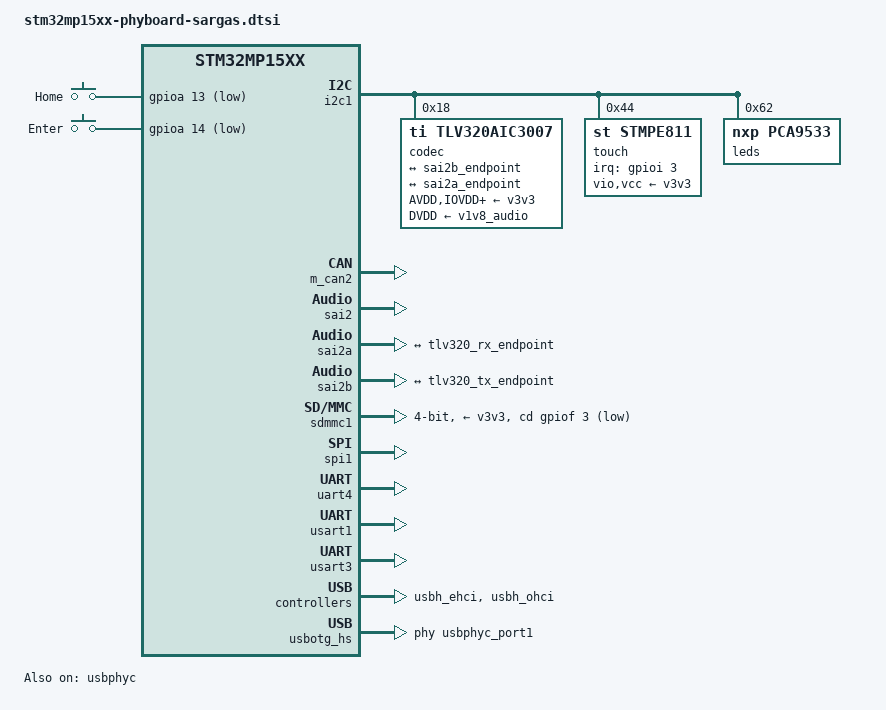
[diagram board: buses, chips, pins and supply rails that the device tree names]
// SPDX-License-Identifier: (GPL-2.0+ OR BSD-3-Clause)
/*
 * Copyright (C) 2022-2023 Steffen Trumtrar <kernel@pengutronix.de>
 * Copyright (C) Phytec GmbH 2019-2020 - All Rights Reserved
 * Author: Dom VOVARD <dom.vovard@linrt.com>.
 */

#include <dt-bindings/interrupt-controller/arm-gic.h>
#include <dt-bindings/interrupt-controller/irq.h>
#include <dt-bindings/leds/common.h>
#include <dt-bindings/leds/leds-pca9532.h>

/ {
	aliases {
		mmc0 = &sdmmc1;
		mmc1 = &sdmmc2;
		mmc2 = &sdmmc3;
		serial0 = &uart4;
		serial1 = &usart3;
		serial2 = &usart1;
	};

	chosen {
		stdout-path = "serial0:115200n8";
	};

	gpio-keys {
		compatible = "gpio-keys";

		key-home {
			label = "Home";
			gpios = <&gpioa 13 GPIO_ACTIVE_LOW>;
			linux,code = <KEY_HOME>;
		};

		key-enter {
			label = "Enter";
			gpios = <&gpioa 14 GPIO_ACTIVE_LOW>;
			linux,code = <KEY_ENTER>;
		};
	};

	sound {
		compatible = "audio-graph-card";
		label = "STM32MP1-PHYCORE";
		routing =
			"Playback", "MCLK", /* Set a route between "MCLK" and "playback" widgets */
			"Capture", "MCLK";
		dais = <&sai2b_port>,
		       <&sai2a_port>;
	};
};

&dcmi {
	pinctrl-names = "default", "sleep";
	pinctrl-0 = <&dcmi_pins_d>;
	pinctrl-1 = <&dcmi_sleep_pins_d>;
};

&i2c1 {
	pinctrl-names = "default", "sleep";
	pinctrl-0 = <&i2c1_pins_b>;
	pinctrl-1 = <&i2c1_sleep_pins_b>;
	i2c-scl-rising-time-ns = <100>;
	i2c-scl-falling-time-ns = <7>;
	status = "okay";

	codec@18 {
		compatible = "ti,tlv320aic3007";
		reg = <0x18>;
		#sound-dai-cells = <0>;

		ai3x-micbias-vg = <2>;

		AVDD-supply = <&v3v3>;
		IOVDD-supply = <&v3v3>;
		DRVDD-supply = <&v3v3>;
		DVDD-supply = <&v1v8_audio>;

		clocks = <&sai2b>;

		port {
			#address-cells = <1>;
			#size-cells = <0>;

			tlv320_tx_endpoint: endpoint@0 {
				reg = <0>;
				remote-endpoint = <&sai2b_endpoint>;
				frame-master;
				bitclock-master;
			};

			tlv320_rx_endpoint: endpoint@1 {
				reg = <1>;
				remote-endpoint = <&sai2a_endpoint>;
				frame-master;
				bitclock-master;
			};
		};
	};

	touch@44 {
		compatible = "st,stmpe811";
		reg = <0x44>;
		interrupts = <3 IRQ_TYPE_EDGE_FALLING>;
		interrupt-parent = <&gpioi>;
		vio-supply = <&v3v3>;
		vcc-supply = <&v3v3>;
		st,sample-time = <4>;
		st,mod-12b = <1>;
		st,ref-sel = <0>;
		st,adc-freq = <1>;

		touchscreen {
			compatible = "st,stmpe-ts";
			st,ave-ctrl = <1>;
			st,touch-det-delay = <2>;
			st,settling = <2>;
			st,fraction-z = <7>;
			st,i-drive = <1>;
		};
	};

	leds@62 {
		compatible = "nxp,pca9533";
		reg = <0x62>;

		led-0 {
			color = <LED_COLOR_ID_RED>;
			function = LED_FUNCTION_POWER;
			type = <PCA9532_TYPE_LED>;
		};

		led-1 {
			color = <LED_COLOR_ID_GREEN>;
			function = LED_FUNCTION_POWER;
			type = <PCA9532_TYPE_LED>;
		};

		led-2 {
			color = <LED_COLOR_ID_BLUE>;
			function = LED_FUNCTION_HEARTBEAT;
			type = <PCA9532_TYPE_LED>;
			linux,default-trigger = "heartbeat";
		};
	};
};

&ltdc {
	pinctrl-names = "default", "sleep";
	pinctrl-0 = <&ltdc_pins_f>;
	pinctrl-1 = <&ltdc_sleep_pins_f>;
};

&m_can2 {
	pinctrl-names = "default", "sleep";
	pinctrl-0 = <&m_can2_pins_a>;
	pinctrl-1 = <&m_can2_sleep_pins_a>;
	status = "okay";
};

&sai2 {
	clocks = <&rcc SAI2>, <&rcc PLL3_Q>, <&rcc PLL3_R>;
	clock-names = "pclk", "x8k", "x11k";
	pinctrl-names = "default", "sleep";
	pinctrl-0 = <&sai2a_pins_d>, <&sai2b_pins_d>;
	pinctrl-1 = <&sai2a_sleep_pins_d>, <&sai2b_sleep_pins_d>;
	status = "okay";
};

&sai2a {
	dma-names = "rx";
	clocks = <&rcc SAI2_K>, <&sai2b>;
	clock-names = "sai_ck", "MCLK";
	#clock-cells = <0>;
	st,sync = <&sai2b 2>;

	sai2a_port: port {
		sai2a_endpoint: endpoint {
			remote-endpoint = <&tlv320_rx_endpoint>;
			mclk-fs = <256>;
			dai-tdm-slot-num = <2>;
			dai-tdm-slot-width = <16>;
		};
	};
};

&sai2b {
	dma-names = "tx";
	#clock-cells = <0>;

	sai2b_port: port {
		sai2b_endpoint: endpoint {
			remote-endpoint = <&tlv320_tx_endpoint>;
			mclk-fs = <256>;
			dai-tdm-slot-num = <2>;
			dai-tdm-slot-width = <16>;
		};
	};
};

&sdmmc1 {
	pinctrl-names = "default", "opendrain", "sleep";
	pinctrl-0 = <&sdmmc1_b4_pins_b>;
	pinctrl-1 = <&sdmmc1_b4_od_pins_b>;
	pinctrl-2 = <&sdmmc1_b4_sleep_pins_b>;
	cd-gpios = <&gpiof 3 GPIO_ACTIVE_LOW>;
	disable-wp;
	bus-width = <4>;
	vmmc-supply = <&v3v3>;
	st,neg-edge;
	status = "okay";
};

&spi1 {
	pinctrl-names = "default", "sleep";
	pinctrl-0 = <&spi1_pins_a>;
	pinctrl-1 = <&spi1_sleep_pins_a>;
	cs-gpios = <&gpioz 3 0>;
	status = "okay";
};

&timers5 {
	/* spare dmas for other usage */
	/delete-property/dmas;
	/delete-property/dma-names;
	pwm5: pwm {
		pinctrl-names = "default", "sleep";
		pinctrl-0 = <&pwm5_pins_c>;
		pinctrl-1 = <&pwm5_sleep_pins_c>;
	};
};

&uart4 {
	pinctrl-names = "default", "sleep", "idle";
	pinctrl-0 = <&uart4_pins_f>;
	pinctrl-1 = <&uart4_sleep_pins_f>;
	pinctrl-2 = <&uart4_idle_pins_f>;
	/delete-property/dmas;
	/delete-property/dma-names;
	status = "okay";
};

&usart1 {
	pinctrl-names = "default", "sleep", "idle";
	pinctrl-0 = <&usart1_pins_b &usart1_pins_a>;
	pinctrl-1 = <&usart1_sleep_pins_b &usart1_sleep_pins_a>;
	pinctrl-2 = <&usart1_idle_pins_b &usart1_idle_pins_a>;
	uart-has-rtscts;
	status = "okay";
};

&usart3 {
	pinctrl-names = "default", "sleep", "idle";
	pinctrl-0 = <&usart3_pins_a>;
	pinctrl-1 = <&usart3_sleep_pins_a>;
	pinctrl-2 = <&usart3_idle_pins_a>;
	status = "okay";
};

&usbh_ehci {
	status = "okay";
};

&usbh_ohci {
	status = "okay";
};

&usbotg_hs {
	phys = <&usbphyc_port1 0>;
	phy-names = "usb2-phy";
	status = "okay";
};

&usbphyc {
	status = "okay";
};

&usbphyc_port0 {
	phy-supply = <&vdd_usb>;
};

&usbphyc_port1 {
	phy-supply = <&vdd_usb>;
};
